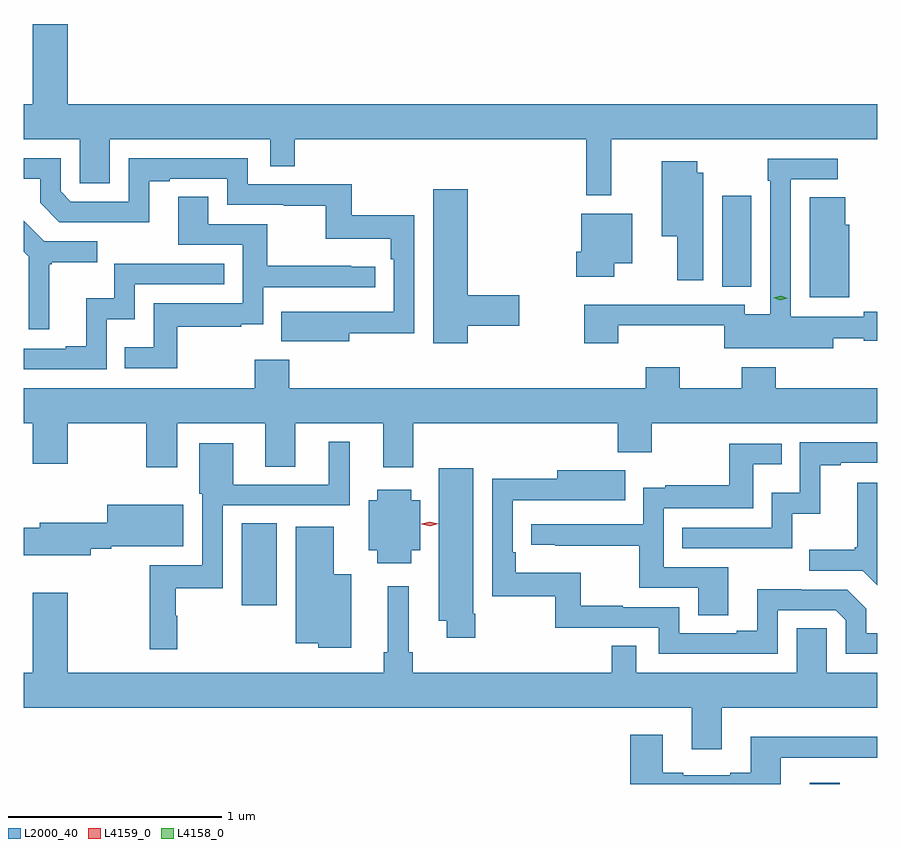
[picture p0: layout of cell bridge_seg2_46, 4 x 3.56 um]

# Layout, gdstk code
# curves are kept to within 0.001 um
import gdstk
lib = gdstk.Library(unit=1e-6, precision=1e-09)
def R(c, l, rs):  # rectangles x0, y0, x1, y1
    for r in rs: c.add(gdstk.rectangle(r[:2], r[2:], *l))
def P(c, l, *ps):  # polygons
    for p in ps: c.add(gdstk.Polygon(p, *l))
L2000_40 = (2000, 40)
L4158_0 = (4158, 0)
L4159_0 = (4159, 0)

bridge_seg2_46 = lib.new_cell('bridge_seg2_46')
R(bridge_seg2_46, L2000_40, [(983.831,639.287,983.971,639.292), (981.17,640.124,981.334,640.508), (983.42,641.617,983.557,642.043)])
P(bridge_seg2_46, L2000_40, [(982.902,642.308),(984.148,642.308),(984.148,642.472),(980.356,642.472),(980.356,642.847),(980.192,642.847),(980.192,642.472),(980.148,642.472),(980.148,642.308),(980.412,642.308),(980.412,642.1),(980.551,642.1),(980.551,642.308),(981.303,642.308),(981.303,642.181),(981.419,642.181),(981.419,642.308),(982.783,642.308),(982.783,642.045),(982.902,642.045)],
  [(981.673,641.398),(981.978,641.398),(981.978,641.95),(981.685,641.95),(981.685,642.096),(981.198,642.096),(981.198,642.219),(980.64,642.219),(980.64,642.015),(980.37,642.015),(980.322,642.063),(980.322,642.219),(980.148,642.219),(980.148,642.123),(980.226,642.123),(980.226,642.009),(980.316,641.919),(980.737,641.918),(980.737,642.111),(980.833,642.111),(980.833,642.123),(981.102,642.123),(981.102,642),(981.367,642),(981.367,641.995),(981.564,641.995),(981.564,641.84),(981.869,641.84),(981.869,641.744),(981.882,641.744),(981.882,641.499),(981.355,641.5),(981.355,641.36),(981.673,641.36)],
  [(983.941,641.374),(984.084,641.374),(984.084,641.363),(984.148,641.363),(984.148,641.5),(984.084,641.5),(984.084,641.476),(983.742,641.476),(983.742,642.12),(983.962,642.12),(983.962,642.216),(983.634,642.216),(983.634,642.113),(983.646,642.113),(983.646,641.488),(983.526,641.488),(983.526,641.532),(983.017,641.532),(983.017,641.533),(982.774,641.533),(982.774,641.352),(982.934,641.352),(982.934,641.435),(983.43,641.435),(983.43,641.327),(983.941,641.327)],
  [(983.332,642.151),(983.304,642.151),(983.304,642.205),(983.138,642.205),(983.138,641.852),(983.21,641.852),(983.21,641.646),(983.332,641.646)],
  [(982.228,641.434),(982.471,641.434),(982.471,641.576),(982.228,641.576),(982.228,642.073),(982.067,642.073),(982.067,641.352),(982.228,641.352)],
  [(980.869,641.43),(981.167,641.43),(981.167,641.441),(981.27,641.441),(981.27,641.613),(981.796,641.613),(981.796,641.709),(981.683,641.709),(981.683,641.714),(981.29,641.714),(981.29,641.91),(981.013,641.91),(981.013,642.038),(980.873,642.038),(980.873,641.814),(981.174,641.814),(981.174,641.538),(980.758,641.538),(980.758,641.332),(980.623,641.332),(980.623,641.235),(980.869,641.235)],
  [(984.016,641.907),(983.998,641.907),(983.998,642.035),(983.831,642.035),(983.831,641.567),(984.016,641.567)],
  [(982.914,641.726),(982.999,641.726),(982.999,641.959),(982.76,641.959),(982.76,641.781),(982.736,641.781),(982.736,641.663),(982.914,641.663)],
  [(980.269,641.721),(980.281,641.721),(980.281,641.732),(980.494,641.732),(980.494,641.829),(980.244,641.829),(980.148,641.925),(980.148,641.781),(980.172,641.757),(980.172,641.418),(980.269,641.418)],
  [(980.538,641.465),(980.67,641.465),(980.67,641.628),(981.089,641.628),(981.089,641.724),(980.574,641.724),(980.574,641.563),(980.441,641.563),(980.441,641.338),(980.345,641.338),(980.345,641.325),(980.148,641.325),(980.148,641.229),(980.538,641.229)],
  [(980.869,640.976),(981.281,640.976),(981.281,640.774),(981.421,640.774),(981.421,640.976),(981.833,640.976),(981.833,640.77),(981.973,640.77),(981.973,640.976),(982.931,640.976),(982.931,640.841),(983.091,640.841),(983.091,640.976),(984.148,640.976),(984.148,641.14),(983.672,641.14),(983.672,641.239),(983.512,641.239),(983.512,641.14),(983.223,641.14),(983.223,641.239),(983.063,641.239),(983.063,641.14),(981.392,641.14),(981.392,641.275),(981.232,641.275),(981.232,641.14),(980.148,641.14),(980.148,640.976),(980.192,640.976),(980.192,640.788),(980.356,640.788),(980.356,640.976),(980.722,640.976),(980.722,640.77),(980.869,640.77)],
  [(980.867,640.074),(980.86,640.074),(980.86,640.203),(981.081,640.203),(981.081,640.593),(981.676,640.593),(981.676,640.891),(981.578,640.891),(981.578,640.689),(981.13,640.689),(981.13,640.882),(980.972,640.882),(980.972,640.646),(980.985,640.646),(980.985,640.311),(980.739,640.311),(980.739,639.918),(980.867,639.918)],
  [(983.748,640.553),(983.881,640.553),(983.881,640.779),(983.977,640.779),(983.977,640.791),(984.148,640.791),(984.148,640.887),(983.784,640.887),(983.784,640.651),(983.652,640.651),(983.652,640.488),(983.233,640.488),(983.233,640.392),(983.748,640.392)],
  [(983.449,640.302),(983.148,640.302),(983.148,640.578),(983.565,640.578),(983.565,640.784),(983.699,640.784),(983.699,640.881),(983.454,640.881),(983.454,640.687),(983.155,640.687),(983.155,640.675),(983.052,640.675),(983.052,640.503),(982.527,640.503),(982.527,640.407),(982.639,640.407),(982.639,640.402),(983.032,640.402),(983.032,640.206),(983.309,640.206),(983.309,640.078),(983.449,640.078)],
  [(982.263,640.084),(982.255,640.084),(982.255,640.765),(982.094,640.765),(982.094,640.052),(982.13,640.052),(982.13,639.972),(982.263,639.972)],
  [(983.682,640.101),(983.952,640.101),(984,640.053),(984,639.897),(984.148,639.897),(984.148,639.993),(984.096,639.993),(984.096,640.107),(984.006,640.197),(983.79,640.197),(983.79,640.199),(983.585,640.199),(983.585,640.006),(983.489,640.006),(983.489,639.993),(983.22,639.993),(983.22,640.116),(982.955,640.116),(982.955,640.121),(982.759,640.121),(982.759,640.276),(982.454,640.276),(982.454,640.372),(982.44,640.372),(982.44,640.617),(982.967,640.616),(982.967,640.756),(982.649,640.756),(982.649,640.718),(982.344,640.718),(982.344,640.167),(982.638,640.167),(982.638,640.02),(983.124,640.02),(983.124,639.897),(983.682,639.897)],
  [(984.148,640.699),(984.053,640.699),(984.053,640.396),(984.042,640.396),(984.042,640.384),(983.829,640.384),(983.829,640.287),(984.078,640.287),(984.148,640.217)],
  [(981.964,640.382),(982.006,640.382),(982.006,640.615),(981.964,640.615),(981.964,640.666),(981.806,640.666),(981.806,640.615),(981.764,640.615),(981.764,640.382),(981.806,640.382),(981.806,640.322),(981.964,640.322)],
  [(980.464,640.388),(980.56,640.388),(980.56,640.4),(980.896,640.4),(980.896,640.594),(980.54,640.594),(980.54,640.51),(980.225,640.51),(980.225,640.488),(980.148,640.488),(980.148,640.358),(980.464,640.358)],
  [(981.682,640.27),(981.601,640.27),(981.601,640.492),(981.422,640.492),(981.422,639.947),(981.528,639.947),(981.528,639.926),(981.682,639.926)],
  [(983.419,639.644),(984.148,639.644),(984.148,639.808),(983.91,639.808),(983.91,640.016),(983.771,640.016),(983.771,639.808),(983.019,639.808),(983.019,639.935),(982.903,639.935),(982.903,639.808),(981.971,639.808),(981.971,639.904),(981.952,639.904),(981.952,640.213),(981.854,640.213),(981.854,639.904),(981.835,639.904),(981.835,639.808),(980.356,639.808),(980.356,640.183),(980.192,640.183),(980.192,639.808),(980.148,639.808),(980.148,639.644),(983.279,639.644),(983.279,639.45),(983.419,639.45)],
  [(983.695,639.411),(984.148,639.411),(984.148,639.508),(983.555,639.508),(983.555,639.34),(983.459,639.34),(983.459,639.327),(983.239,639.327),(983.239,639.34),(983.143,639.34),(983.143,639.517),(982.991,639.517),(982.991,639.287),(983.695,639.287)])
P(bridge_seg2_46, L4158_0, [(983.693,641.553),(983.659,641.564),(983.659,641.564),(983.659,641.565),(983.694,641.573),(983.728,641.562),(983.728,641.562),(983.728,641.562)])
P(bridge_seg2_46, L4159_0, [(982.052,640.495),(982.013,640.504),(982.012,640.505),(982.013,640.505),(982.051,640.515),(982.09,640.506),(982.091,640.506),(982.09,640.505)])

lib.write_gds('bridge_seg2_46.gds')
